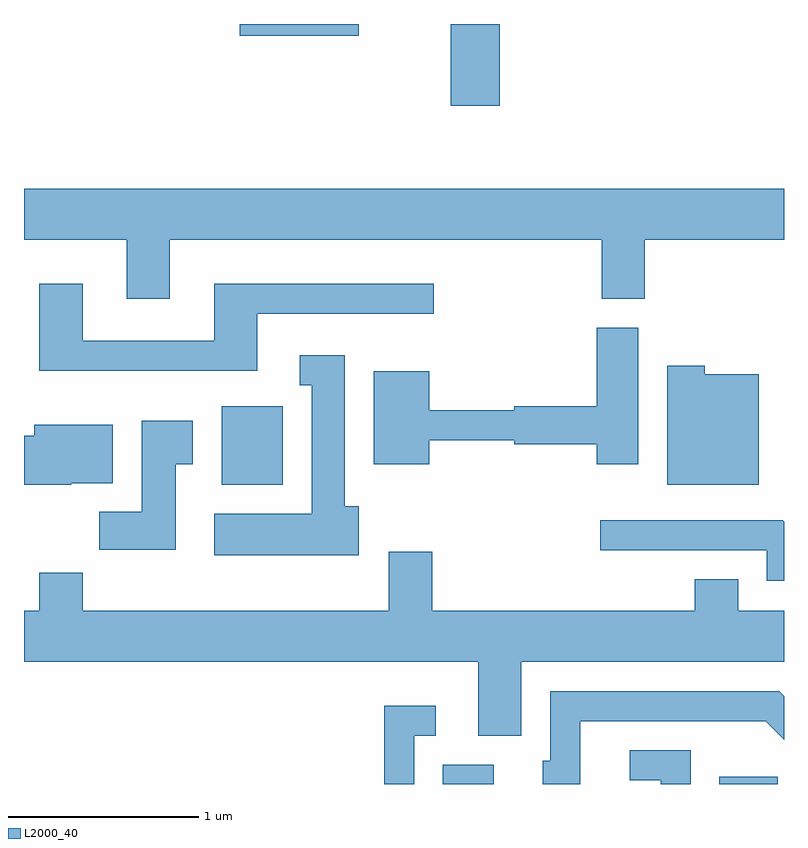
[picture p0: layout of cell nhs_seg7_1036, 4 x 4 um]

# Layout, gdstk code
import gdstk
lib = gdstk.Library(unit=1e-6, precision=1e-09)
def R(c, l, rs):  # rectangles x0, y0, x1, y1
    for r in rs: c.add(gdstk.rectangle(r[:2], r[2:], *l))
def P(c, l, *ps):  # polygons
    for p in ps: c.add(gdstk.Polygon(p, *l))
L2000_40 = (2000, 40)

nhs_seg7_1036 = lib.new_cell('nhs_seg7_1036')
R(nhs_seg7_1036, L2000_40, [(217.816,1800.252,218.084,1800.354), (219.271,1800.252,219.579,1800.289), (216.651,1801.826,216.974,1802.239), (217.856,1803.821,218.114,1804.252), (216.746,1804.191,217.374,1804.252)])
P(nhs_seg7_1036, L2000_40, [(216.379,1803.116),(218.651,1803.116),(218.651,1802.806),(218.879,1802.806),(218.879,1803.116),(219.611,1803.116),(219.611,1803.384),(215.611,1803.384),(215.611,1803.116),(216.151,1803.116),(216.151,1802.806),(216.379,1802.806)],
  [(216.839,1802.726),(217.768,1802.726),(217.768,1802.884),(216.611,1802.884),(216.611,1802.584),(215.919,1802.584),(215.919,1802.884),(215.691,1802.884),(215.691,1802.426),(216.839,1802.426)],
  [(217.744,1802.061),(218.191,1802.061),(218.191,1802.041),(218.626,1802.041),(218.626,1801.936),(218.844,1801.936),(218.844,1802.654),(218.626,1802.654),(218.626,1802.239),(218.191,1802.239),(218.191,1802.219),(217.744,1802.219),(217.744,1802.424),(217.451,1802.424),(217.451,1801.936),(217.744,1801.936)],
  [(217.374,1801.714),(217.299,1801.714),(217.299,1802.509),(217.063,1802.509),(217.063,1802.351),(217.126,1802.351),(217.126,1801.674),(216.611,1801.674),(216.611,1801.456),(217.374,1801.456)],
  [(219.479,1802.409),(219.194,1802.409),(219.194,1802.454),(218.996,1802.454),(218.996,1801.826),(219.479,1801.826)],
  [(216.409,1801.936),(216.499,1801.936),(216.499,1802.164),(216.231,1802.164),(216.231,1801.684),(216.006,1801.684),(216.006,1801.486),(216.409,1801.486)],
  [(215.86,1801.836),(216.079,1801.836),(216.079,1802.144),(215.666,1802.144),(215.666,1802.084),(215.611,1802.084),(215.611,1801.826),(215.86,1801.826)],
  [(219.611,1801.632),(219.604,1801.639),(218.643,1801.639),(218.643,1801.481),(219.521,1801.481),(219.521,1801.321),(219.611,1801.321)],
  [(218.229,1800.896),(219.611,1800.896),(219.611,1801.164),(219.369,1801.164),(219.369,1801.329),(219.141,1801.329),(219.141,1801.164),(217.759,1801.164),(217.759,1801.474),(217.531,1801.474),(217.531,1801.164),(215.919,1801.164),(215.919,1801.364),(215.691,1801.364),(215.691,1801.164),(215.611,1801.164),(215.611,1800.896),(218.001,1800.896),(218.001,1800.506),(218.229,1800.506)],
  [(218.539,1800.581),(219.514,1800.581),(219.611,1800.484),(219.611,1800.715),(219.587,1800.739),(218.381,1800.739),(218.381,1800.374),(218.341,1800.374),(218.341,1800.252),(218.539,1800.252)],
  [(217.664,1800.506),(217.778,1800.506),(217.778,1800.664),(217.506,1800.664),(217.506,1800.252),(217.664,1800.252)],
  [(219.119,1800.429),(218.798,1800.429),(218.798,1800.271),(218.961,1800.271),(218.961,1800.252),(219.119,1800.252)])

lib.write_gds('nhs_seg7_1036.gds')
